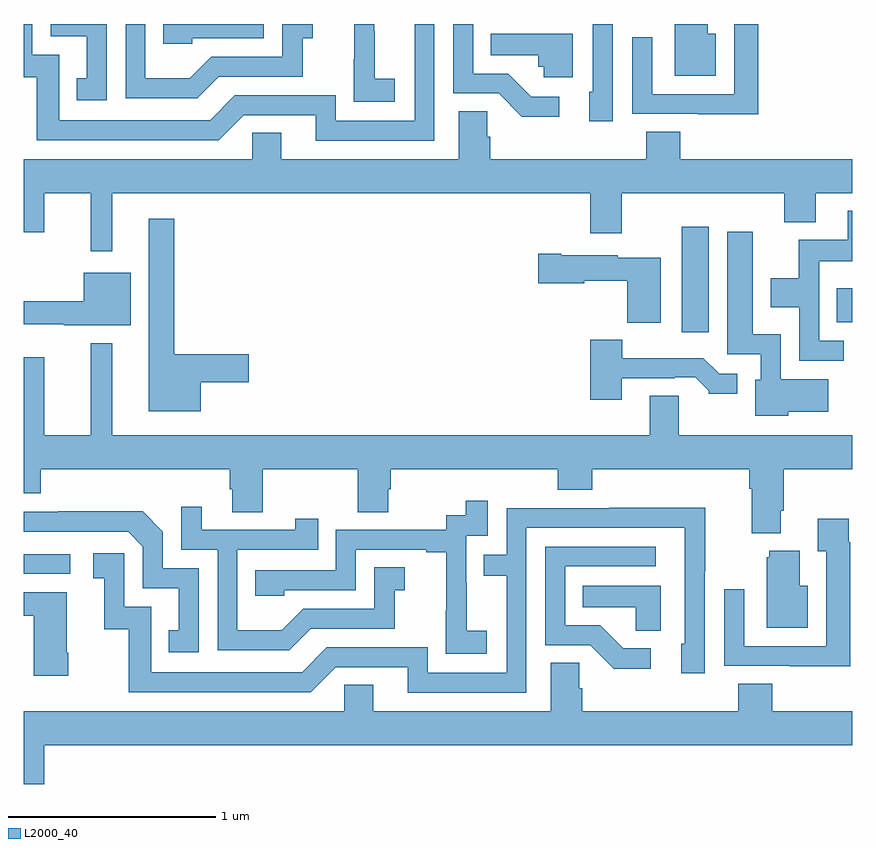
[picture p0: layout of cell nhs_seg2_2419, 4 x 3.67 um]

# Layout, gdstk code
import gdstk
lib = gdstk.Library(unit=1e-6, precision=1e-09)
def R(c, l, rs):  # rectangles x0, y0, x1, y1
    for r in rs: c.add(gdstk.rectangle(r[:2], r[2:], *l))
def P(c, l, *ps):  # polygons
    for p in ps: c.add(gdstk.Polygon(p, *l))
L2000_40 = (2000, 40)

nhs_seg2_2419 = lib.new_cell('nhs_seg2_2419')
R(nhs_seg2_2419, L2000_40, [(237,631.146,237.226,631.242), (240.176,632.313,240.307,632.821), (240.925,632.36,241,632.524)])
P(nhs_seg2_2419, L2000_40, [(239.844,633.8),(239.748,633.8),(239.748,633.474),(239.729,633.474),(239.729,633.33),(239.844,633.33)],
  [(239.584,633.45),(239.449,633.45),(239.338,633.561),(239.169,633.561),(239.169,633.8),(239.073,633.8),(239.073,633.465),(239.292,633.465),(239.405,633.353),(239.584,633.353)],
  [(237.943,633.546),(238.347,633.546),(238.347,633.731),(238.396,633.731),(238.396,633.8),(238.248,633.8),(238.248,633.642),(237.906,633.642),(237.802,633.538),(237.588,633.538),(237.588,633.8),(237.492,633.8),(237.492,633.441),(237.838,633.441)],
  [(237.402,633.8),(237.132,633.8),(237.132,633.741),(237.305,633.741),(237.305,633.537),(237.256,633.537),(237.256,633.432),(237.402,633.432)],
  [(240.545,633.8),(240.429,633.8),(240.429,633.462),(240.033,633.462),(240.033,633.736),(239.937,633.736),(239.937,633.366),(240.253,633.366),(240.253,633.365),(240.545,633.365)],
  [(240.34,633.754),(240.301,633.754),(240.301,633.8),(240.143,633.8),(240.143,633.551),(240.34,633.551)],
  [(237.813,633.732),(238.158,633.732),(238.158,633.8),(237.673,633.8),(237.673,633.705),(237.813,633.705)],
  [(238.983,633.8),(238.887,633.8),(238.887,633.333),(238.506,633.333),(238.506,633.456),(238.02,633.456),(237.9,633.336),(237.171,633.336),(237.171,633.651),(237.042,633.651),(237.042,633.8),(237,633.8),(237,633.543),(237.063,633.543),(237.063,633.24),(237.942,633.24),(238.062,633.36),(238.409,633.36),(238.409,633.237),(238.983,633.237)],
  [(238.792,633.535),(238.694,633.535),(238.694,633.764),(238.692,633.764),(238.692,633.8),(238.595,633.8),(238.595,633.631),(238.594,633.631),(238.594,633.425),(238.792,633.425)],
  [(239.65,633.754),(239.254,633.754),(239.254,633.65),(239.485,633.65),(239.485,633.594),(239.511,633.594),(239.511,633.542),(239.65,633.542)],
  [(237.427,632.984),(239.735,632.984),(239.735,632.79),(239.887,632.79),(239.887,632.984),(240.671,632.984),(240.671,632.843),(240.823,632.843),(240.823,632.984),(241,632.984),(241,633.148),(240.17,633.148),(240.17,633.281),(240.005,633.281),(240.005,633.148),(239.252,633.148),(239.252,633.257),(239.238,633.257),(239.238,633.38),(239.099,633.38),(239.099,633.148),(238.243,633.148),(238.243,633.275),(238.104,633.275),(238.104,633.148),(237,633.148),(237,632.796),(237.1,632.796),(237.1,632.984),(237.323,632.984),(237.323,632.703),(237.427,632.703)],
  [(240.958,632.271),(240.84,632.271),(240.84,632.654),(241,632.654),(241,632.899),(240.977,632.899),(240.977,632.758),(240.742,632.758),(240.742,632.572),(240.605,632.572),(240.605,632.432),(240.744,632.432),(240.744,632.175),(240.958,632.175)],
  [(237.856,632.072),(238.087,632.072),(238.087,632.207),(237.727,632.207),(237.727,632.86),(237.605,632.86),(237.605,631.931),(237.856,631.931)],
  [(240.69,631.928),(240.883,631.928),(240.883,632.086),(240.654,632.086),(240.654,632.302),(240.52,632.302),(240.52,632.797),(240.395,632.797),(240.395,632.205),(240.558,632.205),(240.558,632.082),(240.53,632.082),(240.53,631.91),(240.69,631.91)],
  [(240.076,632.671),(239.868,632.671),(239.868,632.683),(239.596,632.683),(239.596,632.691),(239.484,632.691),(239.484,632.549),(239.706,632.549),(239.706,632.561),(239.914,632.561),(239.914,632.357),(240.076,632.357)],
  [(237.517,632.599),(237.29,632.599),(237.29,632.461),(237,632.461),(237,632.351),(237.194,632.351),(237.194,632.345),(237.517,632.345)],
  [(239.887,632.091),(240.143,632.091),(240.143,632.094),(240.242,632.094),(240.306,632.03),(240.306,632.015),(240.445,632.015),(240.445,632.112),(240.357,632.112),(240.281,632.188),(239.89,632.188),(239.89,632.275),(239.735,632.275),(239.735,631.986),(239.887,631.986)],
  [(240.655,631.45),(240.668,631.45),(240.668,631.652),(241,631.652),(241,631.816),(240.163,631.816),(240.163,632.006),(240.023,632.006),(240.023,631.816),(237.427,631.816),(237.427,632.26),(237.325,632.26),(237.325,632.153),(237.323,632.153),(237.323,631.816),(237.1,631.816),(237.1,632.191),(237,632.191),(237,631.535),(237.083,631.535),(237.083,631.652),(237.995,631.652),(237.995,631.554),(238.007,631.554),(238.007,631.444),(238.155,631.444),(238.155,631.652),(238.612,631.652),(238.612,631.444),(238.759,631.444),(238.759,631.554),(238.772,631.554),(238.772,631.652),(239.579,631.652),(239.579,631.553),(239.744,631.553),(239.744,631.652),(240.503,631.652),(240.503,631.556),(240.515,631.556),(240.515,631.343),(240.655,631.343)],
  [(239.236,630.871),(239.138,630.871),(239.138,631.1),(239.136,631.1),(239.136,631.329),(239.241,631.329),(239.241,631.498),(239.133,631.498),(239.133,631.428),(239.04,631.428),(239.04,631.359),(238.506,631.359),(238.506,631.164),(238.117,631.164),(238.117,631.041),(238.257,631.041),(238.257,631.068),(238.602,631.068),(238.602,631.263),(238.943,631.263),(238.943,631.251),(239.039,631.251),(239.039,630.967),(239.038,630.967),(239.038,630.761),(239.236,630.761)],
  [(238.387,630.882),(238.791,630.882),(238.791,631.067),(238.84,631.067),(238.84,631.177),(238.692,631.177),(238.692,630.978),(238.35,630.978),(238.246,630.874),(238.032,630.874),(238.032,631.263),(238.421,631.263),(238.421,631.411),(238.31,631.411),(238.31,631.359),(237.859,631.359),(237.859,631.471),(237.762,631.471),(237.762,631.263),(237.936,631.263),(237.936,630.777),(238.282,630.777)],
  [(239.427,631.368),(240.192,631.368),(240.192,630.81),(240.173,630.81),(240.173,630.666),(240.288,630.666),(240.288,631.159),(240.291,631.159),(240.291,631.466),(239.827,631.466),(239.827,631.464),(239.331,631.464),(239.331,631.239),(239.221,631.239),(239.221,631.138),(239.331,631.138),(239.331,630.669),(238.95,630.669),(238.95,630.792),(238.464,630.792),(238.344,630.672),(237.615,630.672),(237.615,630.987),(237.486,630.987),(237.486,631.246),(237.336,631.246),(237.336,631.125),(237.389,631.125),(237.389,630.879),(237.507,630.879),(237.507,630.576),(238.386,630.576),(238.506,630.696),(238.853,630.696),(238.853,630.573),(239.427,630.573)],
  [(237.846,631.173),(237.672,631.173),(237.672,631.35),(237.574,631.448),(237.166,631.448),(237.166,631.446),(237,631.446),(237,631.35),(237.504,631.35),(237.576,631.278),(237.576,631.077),(237.749,631.077),(237.749,630.873),(237.7,630.873),(237.7,630.768),(237.846,630.768)],
  [(240.989,631.298),(240.982,631.298),(240.982,631.411),(240.833,631.411),(240.833,631.255),(240.873,631.255),(240.873,630.798),(240.477,630.798),(240.477,631.072),(240.381,631.072),(240.381,630.702),(240.697,630.702),(240.697,630.701),(240.989,630.701)],
  [(240.028,630.786),(239.893,630.786),(239.782,630.897),(239.613,630.897),(239.613,631.182),(240.052,631.182),(240.052,631.278),(239.517,631.278),(239.517,630.801),(239.736,630.801),(239.849,630.689),(240.028,630.689)],
  [(240.784,631.09),(240.745,631.09),(240.745,631.258),(240.599,631.258),(240.599,631.227),(240.587,631.227),(240.587,630.887),(240.784,630.887)],
  [(240.076,631.09),(239.698,631.09),(239.698,630.986),(239.955,630.986),(239.955,630.871),(240.076,630.871)],
  [(237.216,630.766),(237.208,630.766),(237.208,631.057),(237,631.057),(237,630.943),(237.05,630.943),(237.05,630.654),(237.216,630.654)],
  [(237.1,630.32),(241,630.32),(241,630.484),(240.614,630.484),(240.614,630.617),(240.449,630.617),(240.449,630.484),(239.696,630.484),(239.696,630.593),(239.682,630.593),(239.682,630.716),(239.543,630.716),(239.543,630.484),(238.687,630.484),(238.687,630.611),(238.548,630.611),(238.548,630.484),(237,630.484),(237,630.132),(237.1,630.132)])

lib.write_gds('nhs_seg2_2419.gds')
